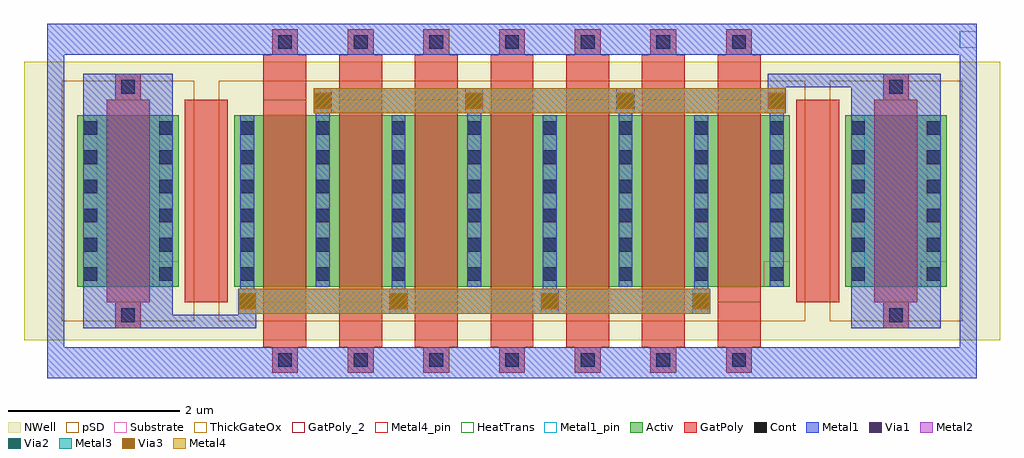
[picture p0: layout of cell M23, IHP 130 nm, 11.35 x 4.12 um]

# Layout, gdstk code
import gdstk
lib = gdstk.Library(unit=1e-6, precision=1e-09)
def R(c, l, rs):  # rectangles x0, y0, x1, y1
    for r in rs: c.add(gdstk.rectangle(r[:2], r[2:], *l))
def A(c, l, x, y, w, h, nx, ny, dx, dy):  # array of equal rectangles
    R(c, l, [(x+i*dx, y+j*dy, x+i*dx+w, y+j*dy+h) for i in range(nx) for j in range(ny)])
Activ = (1, 0)
GatPoly = (5, 0)
GatPoly_2 = (5, 2)
Cont = (6, 0)
Metal1 = (8, 0)
Metal1_pin = (8, 2)
Metal2 = (10, 0)
pSD = (14, 0)
Via1 = (19, 0)
Via2 = (29, 0)
Metal3 = (30, 0)
NWell = (31, 0)
Substrate = (40, 0)
ThickGateOx = (44, 0)
Via3 = (49, 0)
Metal4 = (50, 0)
Metal4_pin = (50, 2)
HeatTrans = (51, 0)

pmoshv_1_priv3 = lib.new_cell('pmosHV$1_priv3')
A(pmoshv_1_priv3, Activ, 0, 0, 0.3, 0.3, 8, 1, 0.88, 0)
R(pmoshv_1_priv3, Activ, [(0,0,6.46,2)])
A(pmoshv_1_priv3, GatPoly, 0.44, -1, 0.3, 0.3, 7, 2, 0.88, 3.7)
A(pmoshv_1_priv3, GatPoly, 0.34, -0.7, 0.5, 0.52, 7, 2, 0.88, 2.88)
A(pmoshv_1_priv3, GatPoly, 0.34, -0.18, 0.5, 2.36, 7, 1, 0.88, 0)
R(pmoshv_1_priv3, GatPoly_2, [(0.34,-0.18,0.84,2.18)])
A(pmoshv_1_priv3, Cont, 0.51, -0.93, 0.16, 0.16, 7, 2, 0.88, 3.7)
A(pmoshv_1_priv3, Cont, 0.07, 0.07, 0.16, 0.16, 8, 6, 0.88, 0.34)
A(pmoshv_1_priv3, Metal1, 0.455, -1.06, 0.27, 0.36, 7, 2, 0.88, 3.76)
A(pmoshv_1_priv3, Metal1, 0.045, -0.31, 0.21, 0.29, 4, 1, 1.76, 0)
A(pmoshv_1_priv3, Metal1, 0.07, -0.035, 0.16, 0.05, 4, 1, 1.76, 0)
A(pmoshv_1_priv3, Metal1, 0.07, 0, 0.16, 2, 8, 1, 0.88, 0)
A(pmoshv_1_priv3, Metal1, 0.95, 1.985, 0.16, 0.05, 4, 1, 1.76, 0)
A(pmoshv_1_priv3, Metal1, 0.925, 2.02, 0.21, 0.29, 4, 1, 1.76, 0)
R(pmoshv_1_priv3, Metal1_pin, [(0.07,0,0.23,2), (0.95,0,1.11,2)])
A(pmoshv_1_priv3, Metal2, 0.05, -0.31, 0.2, 0.29, 4, 1, 1.76, 0)
A(pmoshv_1_priv3, Metal2, 0.93, 2.02, 0.2, 0.29, 4, 1, 1.76, 0)
R(pmoshv_1_priv3, Metal2, [(0.05,-0.31,5.53,-0.02), (0.93,2.02,6.41,2.31)])
R(pmoshv_1_priv3, pSD, [(-0.18,-0.4,6.64,2.4)])
A(pmoshv_1_priv3, Via1, 0.055, -0.26, 0.19, 0.19, 4, 1, 1.76, 0)
A(pmoshv_1_priv3, Via1, 0.935, 2.07, 0.19, 0.19, 4, 1, 1.76, 0)
A(pmoshv_1_priv3, Via2, 0.055, -0.26, 0.19, 0.19, 4, 1, 1.76, 0)
A(pmoshv_1_priv3, Via2, 0.935, 2.07, 0.19, 0.19, 4, 1, 1.76, 0)
A(pmoshv_1_priv3, Metal3, 0.05, -0.31, 0.2, 0.29, 4, 1, 1.76, 0)
A(pmoshv_1_priv3, Metal3, 0.93, 2.02, 0.2, 0.29, 4, 1, 1.76, 0)
R(pmoshv_1_priv3, Metal3, [(0.05,-0.31,5.53,-0.02), (0.93,2.02,6.41,2.31)])
R(pmoshv_1_priv3, NWell, [(-0.62,-0.62,7.08,2.62)])
R(pmoshv_1_priv3, Substrate, [(6.16,0,6.46,0.3)])
R(pmoshv_1_priv3, ThickGateOx, [(-0.62,-0.62,7.08,2.62)])
A(pmoshv_1_priv3, Via3, 0.055, -0.26, 0.19, 0.19, 4, 1, 1.76, 0)
A(pmoshv_1_priv3, Via3, 0.935, 2.07, 0.19, 0.19, 4, 1, 1.76, 0)
A(pmoshv_1_priv3, Metal4, 0.05, -0.31, 0.2, 0.29, 4, 1, 1.76, 0)
A(pmoshv_1_priv3, Metal4, 0.93, 2.02, 0.2, 0.29, 4, 1, 1.76, 0)
R(pmoshv_1_priv3, Metal4, [(0.05,-0.31,5.53,-0.02), (0.93,2.02,6.41,2.31)])
R(pmoshv_1_priv3, Metal4_pin, [(5.335,-0.26,5.525,-0.07), (6.215,2.07,6.405,2.26)])
A(pmoshv_1_priv3, HeatTrans, 0.34, -0.18, 0.5, 2.36, 7, 1, 0.88, 0)
pmoshv_1_priv3.add(gdstk.Label('pmosHV', (0.59,1), layer=63, texttype=0))
pmoshv_1_priv3.add(gdstk.Label('pmos', (0.59,1), layer=51, texttype=0))
pmoshv_1_priv3.add(gdstk.Label('pmos', (1.47,1), layer=51, texttype=0))
pmoshv_1_priv3.add(gdstk.Label('pmos', (2.35,1), layer=51, texttype=0))
pmoshv_1_priv3.add(gdstk.Label('pmos', (3.23,1), layer=51, texttype=0))
pmoshv_1_priv3.add(gdstk.Label('pmos', (4.11,1), layer=51, texttype=0))
pmoshv_1_priv3.add(gdstk.Label('pmos', (4.99,1), layer=51, texttype=0))
pmoshv_1_priv3.add(gdstk.Label('pmos', (5.87,1), layer=51, texttype=0))
pmoshv_1_priv3.add(gdstk.Label('S', (6.31,2.165), layer=50, texttype=0))
pmoshv_1_priv3.add(gdstk.Label('D', (5.43,-0.165), layer=50, texttype=0))

pmoshv_2_priv5 = lib.new_cell('pmosHV$2_priv5')
R(pmoshv_2_priv5, Activ, [(0,0,0.3,0.3), (0,0,1.18,2), (0.88,0,1.18,0.3)])
R(pmoshv_2_priv5, GatPoly, [(0.44,-0.48,0.74,-0.18), (0.34,-0.18,0.84,2.18), (0.44,2.18,0.74,2.48)])
R(pmoshv_2_priv5, GatPoly_2, [(0.34,-0.18,0.84,2.18)])
A(pmoshv_2_priv5, Cont, 0.07, 0.07, 0.16, 0.16, 1, 6, 0, 0.34)
A(pmoshv_2_priv5, Cont, 0.95, 0.07, 0.16, 0.16, 1, 6, 0, 0.34)
R(pmoshv_2_priv5, Cont, [(0.51,-0.41,0.67,-0.25), (0.51,2.25,0.67,2.41)])
R(pmoshv_2_priv5, Metal1, [(0.07,-0.48,1.11,2.48), (0.07,0,0.23,2), (0.95,0,1.11,2)])
R(pmoshv_2_priv5, Metal1_pin, [(0.07,0,0.23,2), (0.95,0,1.11,2)])
R(pmoshv_2_priv5, pSD, [(-0.18,-0.4,1.36,2.4)])
R(pmoshv_2_priv5, NWell, [(-0.62,-0.62,1.8,2.62)])
R(pmoshv_2_priv5, Substrate, [(0.88,0,1.18,0.3)])
R(pmoshv_2_priv5, ThickGateOx, [(-0.62,-0.62,1.8,2.62)])
R(pmoshv_2_priv5, HeatTrans, [(0.34,-0.18,0.84,2.18)])
pmoshv_2_priv5.add(gdstk.Label('pmosHV', (0.59,1), layer=63, texttype=0))
pmoshv_2_priv5.add(gdstk.Label('pmos', (0.59,1), layer=51, texttype=0))

pmoshv_2_priv6 = lib.new_cell('pmosHV$2_priv6')
R(pmoshv_2_priv6, Activ, [(0,0,0.3,0.3), (0,0,1.18,2), (0.88,0,1.18,0.3)])
R(pmoshv_2_priv6, GatPoly, [(0.44,-0.48,0.74,-0.18), (0.34,-0.18,0.84,2.18), (0.44,2.18,0.74,2.48)])
R(pmoshv_2_priv6, GatPoly_2, [(0.34,-0.18,0.84,2.18)])
A(pmoshv_2_priv6, Cont, 0.07, 0.07, 0.16, 0.16, 1, 6, 0, 0.34)
A(pmoshv_2_priv6, Cont, 0.95, 0.07, 0.16, 0.16, 1, 6, 0, 0.34)
R(pmoshv_2_priv6, Cont, [(0.51,-0.41,0.67,-0.25), (0.51,2.25,0.67,2.41)])
R(pmoshv_2_priv6, Metal1, [(0.07,-0.48,1.11,2.48), (0.07,0,0.23,2), (0.95,0,1.11,2)])
R(pmoshv_2_priv6, Metal1_pin, [(0.07,0,0.23,2), (0.95,0,1.11,2)])
R(pmoshv_2_priv6, pSD, [(-0.18,-0.4,1.36,2.4)])
R(pmoshv_2_priv6, NWell, [(-0.62,-0.62,1.8,2.62)])
R(pmoshv_2_priv6, Substrate, [(0.88,0,1.18,0.3)])
R(pmoshv_2_priv6, ThickGateOx, [(-0.62,-0.62,1.8,2.62)])
R(pmoshv_2_priv6, HeatTrans, [(0.34,-0.18,0.84,2.18)])
pmoshv_2_priv6.add(gdstk.Label('pmosHV', (0.59,1), layer=63, texttype=0))
pmoshv_2_priv6.add(gdstk.Label('pmos', (0.59,1), layer=51, texttype=0))

m23 = lib.new_cell('M23')
R(m23, GatPoly, [(-19.425,517.36,-18.925,519.72), (-12.315,517.36,-11.815,519.72)])
R(m23, Metal1, [(-21.025,516.48,-10.215,516.84), (-21.025,516.48,-20.825,520.6), (-10.415,516.48,-10.215,520.6), (-19.565,517.06,-18.595,517.22), (-18.805,517.22,-18.595,517.52), (-12.645,519.56,-12.435,519.86), (-12.645,519.86,-11.675,520.02), (-21.025,520.24,-10.215,520.6)])
R(m23, Metal1_pin, [(-10.415,520.325,-10.215,520.515)])
m23.add(gdstk.Reference(pmoshv_1_priv3, (-18.85,517.54)))
m23.add(gdstk.Reference(pmoshv_2_priv5, (-20.675,517.54)))
m23.add(gdstk.Reference(pmoshv_2_priv6, (-11.745,517.54)))

lib.write_gds('M23.gds')
